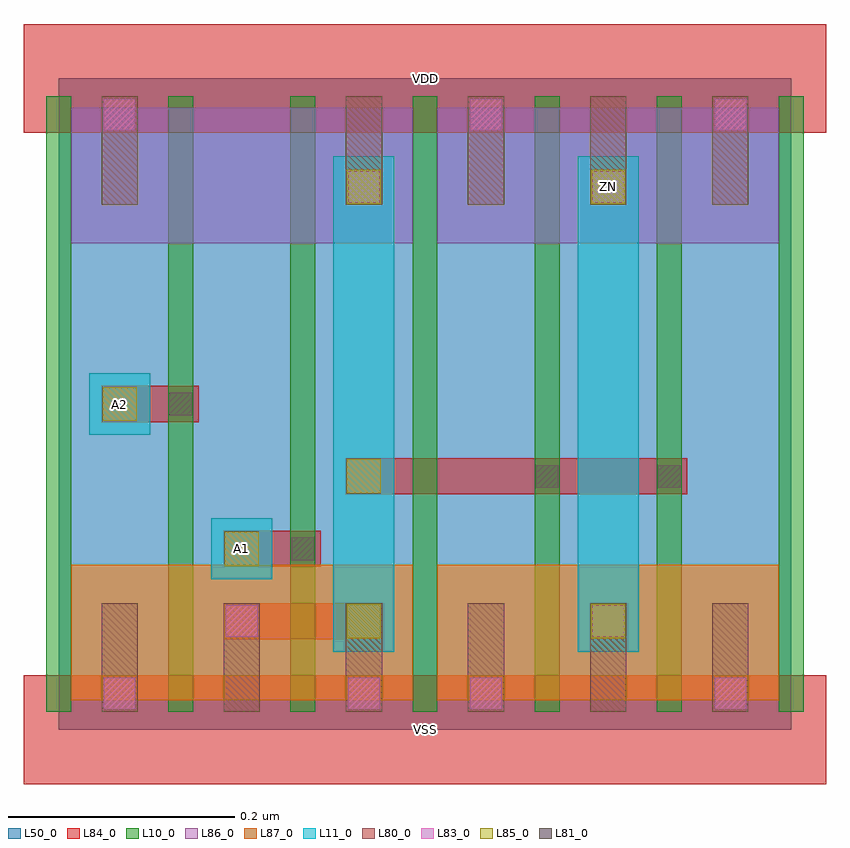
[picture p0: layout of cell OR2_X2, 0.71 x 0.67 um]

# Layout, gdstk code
import gdstk
lib = gdstk.Library(unit=1e-6, precision=1e-09)
def R(c, l, rs):  # rectangles x0, y0, x1, y1
    for r in rs: c.add(gdstk.rectangle(r[:2], r[2:], *l))
def A(c, l, x, y, w, h, nx, ny, dx, dy):  # array of equal rectangles
    R(c, l, [(x+i*dx, y+j*dy, x+i*dx+w, y+j*dy+h) for i in range(nx) for j in range(ny)])
L10_0 = (10, 0)
L11_0 = (11, 0)
L50_0 = (50, 0)
L80_0 = (80, 0)
L81_0 = (81, 0)
L83_0 = (83, 0)
L84_0 = (84, 0)
L85_0 = (85, 0)
L86_0 = (86, 0)
L87_0 = (87, 0)

or2_x2 = lib.new_cell('OR2_X2')
A(or2_x2, L10_0, -0.011, 0.016, 0.022, 0.544, 7, 1, 0.108, 0)
R(or2_x2, L11_0, [(0.243,0.069,0.297,0.507), (0.459,0.069,0.513,0.507), (0.135,0.133,0.189,0.187), (0.027,0.261,0.081,0.315)])
R(or2_x2, L50_0, [(0,0,0.648,0.576)])
A(or2_x2, L80_0, 0.038, 0.016, 0.032, 0.096, 6, 1, 0.108, 0)
A(or2_x2, L80_0, 0.254, 0.464, 0.032, 0.096, 4, 1, 0.108, 0)
R(or2_x2, L80_0, [(0.038,0.464,0.07,0.56)])
R(or2_x2, L81_0, [(0.206,0.15,0.226,0.17), (0.422,0.214,0.442,0.234), (0.53,0.214,0.55,0.234), (0.098,0.278,0.118,0.298)])
R(or2_x2, L83_0, [(0.04,0.018,0.068,0.046), (0.256,0.018,0.284,0.046), (0.364,0.018,0.392,0.046), (0.58,0.018,0.608,0.046), (0.148,0.082,0.176,0.11), (0.472,0.082,0.5,0.11), (0.256,0.466,0.284,0.494), (0.472,0.466,0.5,0.494), (0.04,0.53,0.068,0.558), (0.364,0.53,0.392,0.558), (0.58,0.53,0.608,0.558)])
R(or2_x2, L84_0, [(-0.031,-0.048,0.679,0.048), (0.146,0.08,0.286,0.112), (0.47,0.08,0.502,0.112), (0.146,0.144,0.232,0.176), (0.254,0.208,0.556,0.24), (0.038,0.272,0.124,0.304), (0.254,0.464,0.286,0.496), (0.47,0.464,0.502,0.496), (-0.031,0.528,0.679,0.624)])
R(or2_x2, L85_0, [(0.255,0.081,0.285,0.111), (0.471,0.081,0.501,0.111), (0.147,0.145,0.177,0.175), (0.255,0.209,0.285,0.239), (0.039,0.273,0.069,0.303), (0.255,0.465,0.285,0.495), (0.471,0.465,0.501,0.495)])
R(or2_x2, L86_0, [(0.011,0.43,0.313,0.55), (0.335,0.43,0.637,0.55)])
R(or2_x2, L87_0, [(0.011,0.026,0.313,0.146), (0.335,0.026,0.637,0.146)])
or2_x2.add(gdstk.Label('VDD', (0.324,0.576), layer=88, texttype=0))
or2_x2.add(gdstk.Label('VSS', (0.324,0), layer=88, texttype=0))
or2_x2.add(gdstk.Label('ZN', (0.486,0.48), layer=31, texttype=0))
or2_x2.add(gdstk.Label('A2', (0.054,0.288), layer=31, texttype=0))
or2_x2.add(gdstk.Label('A1', (0.162,0.16), layer=31, texttype=0))

lib.write_gds('OR2_X2.gds')
